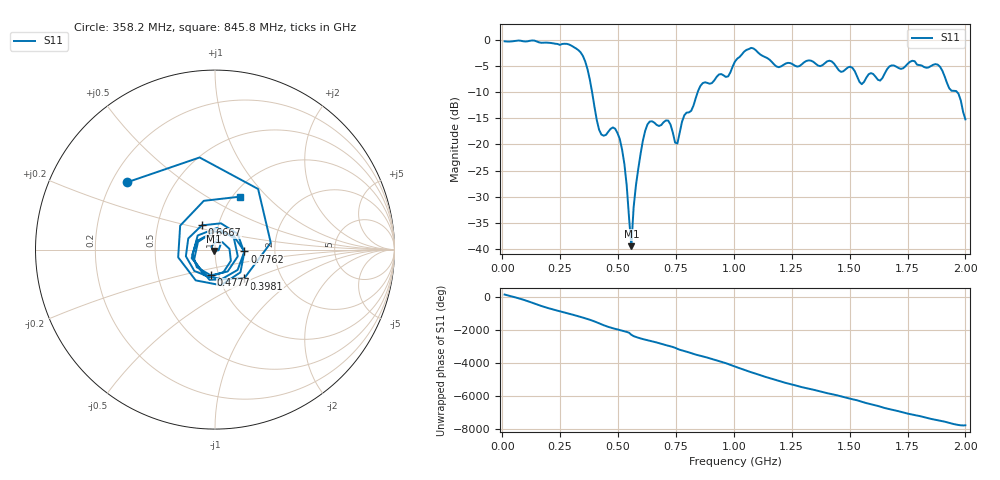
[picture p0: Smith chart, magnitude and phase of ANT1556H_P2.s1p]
!Created with skrf (http://scikit-rf.org).
# Hz S RI R 50.0
!freq ReS11 ImS11
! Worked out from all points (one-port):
!   201 points, 10 MHz to 2 GHz, reference 50 ohm
!   lowest |S11| = -39.4 dB at 557.2 MHz (marker M1), VSWR 1.02, Z = 49.2 - j0.75 ohm
!   |S11| at or under -10 dB: 387.7 MHz to 844 MHz (456.3 MHz wide, 74.1 % of centre); 1.964 GHz to end of sweep
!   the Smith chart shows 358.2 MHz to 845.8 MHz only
!   S11 on the Smith chart (normalised r, x): 358.2 MHz: 0.26, +0.32; 398.1 MHz: 1.30, -0.44; 477.6 MHz: 0.92, -0.27; 666.7 MHz: 0.83, +0.23; 776.1 MHz: 1.39, -0.03; 845.8 MHz: 1.08, +0.71
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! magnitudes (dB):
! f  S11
! 10 MHz  -0.3
! 258.8 MHz  -0.8
! 358.2 MHz  -4.2
! 398.1 MHz  -12.8
! 427.9 MHz  -18.1
! 477.6 MHz  -16.7
! 507.5 MHz  -19.0
! 537.4 MHz  -27.8
! 557.2 MHz  -39.4
! 577.1 MHz  -27.8
! 607 MHz  -19.3
! 636.9 MHz  -15.6
! 666.7 MHz  -16.3
! 716.5 MHz  -15.4
! 756.2 MHz  -19.8
! 776.1 MHz  -15.7
! 845.8 MHz  -9.8
! 975.1 MHz  -7.0
! 1.005 GHz  -4.2
! 1.075 GHz  -1.6
! 1.184 GHz  -5.1
! 1.254 GHz  -4.7
! 1.502 GHz  -5.2
! 1.552 GHz  -8.5
! 1.751 GHz  -4.6
! 1.891 GHz  -5.2
! 1.97 GHz  -10.3
! 2 GHz  -15.2
